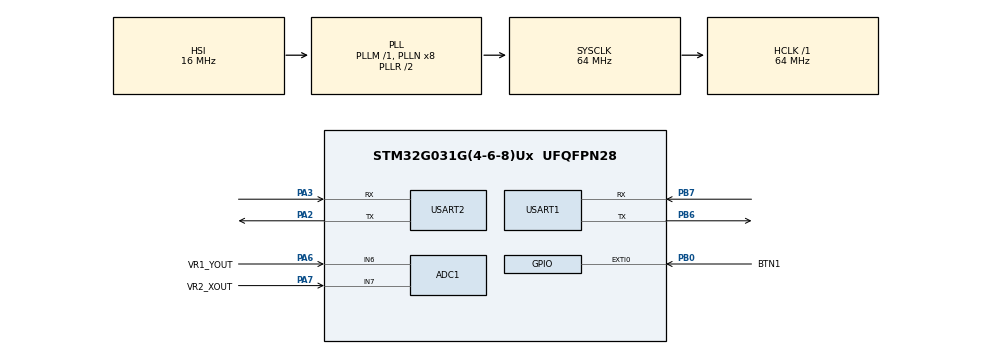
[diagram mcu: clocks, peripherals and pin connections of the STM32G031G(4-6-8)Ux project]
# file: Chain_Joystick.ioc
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ADC1.ContinuousConvMode=ENABLE
ADC1.DMAContinuousRequests=ENABLE
ADC1.NbrOfConversion=1
ADC1.NbrOfConversionFlag=0
ADC1.OversamplingMode=ENABLE
ADC1.Ratio=ADC_OVERSAMPLING_RATIO_256
ADC1.RightBitShift=ADC_RIGHTBITSHIFT_4
ADC1.SamplingTimeCommon1=ADC_SAMPLETIME_160CYCLES_5
ADC1.ScanConvMode=ADC_SCAN_SEQ_FIXED_BACKWARD
ADC1.SelectedChannel=ADC_CHANNEL_6|ADC_CHANNEL_7
ADC1.Sequencer=NOT_FULLY_CONFIGURABLE
ADC1.master=1
Dma.ADC1.4.Direction=DMA_PERIPH_TO_MEMORY
Dma.ADC1.4.EventEnable=DISABLE
Dma.ADC1.4.Instance=DMA1_Channel5
Dma.ADC1.4.MemDataAlignment=DMA_MDATAALIGN_WORD
Dma.ADC1.4.MemInc=DMA_MINC_ENABLE
Dma.ADC1.4.Mode=DMA_CIRCULAR
Dma.ADC1.4.PeriphDataAlignment=DMA_PDATAALIGN_WORD
Dma.ADC1.4.PeriphInc=DMA_PINC_DISABLE
Dma.ADC1.4.Polarity=HAL_DMAMUX_REQ_GEN_RISING
Dma.ADC1.4.Priority=DMA_PRIORITY_MEDIUM
Dma.ADC1.4.RequestNumber=1
Dma.ADC1.4.SignalID=NONE
Dma.ADC1.4.SyncEnable=DISABLE
Dma.ADC1.4.SyncPolarity=HAL_DMAMUX_SYNC_NO_EVENT
Dma.ADC1.4.SyncRequestNumber=1
Dma.ADC1.4.SyncSignalID=NONE
Dma.Request0=USART1_RX
Dma.Request1=USART1_TX
Dma.Request2=USART2_RX
Dma.Request3=USART2_TX
Dma.Request4=ADC1
Dma.USART1_RX.0.Direction=DMA_PERIPH_TO_MEMORY
Dma.USART1_RX.0.EventEnable=DISABLE
Dma.USART1_RX.0.Instance=DMA1_Channel1
Dma.USART1_RX.0.MemDataAlignment=DMA_MDATAALIGN_BYTE
Dma.USART1_RX.0.MemInc=DMA_MINC_ENABLE
Dma.USART1_RX.0.Mode=DMA_NORMAL
Dma.USART1_RX.0.PeriphDataAlignment=DMA_PDATAALIGN_BYTE
Dma.USART1_RX.0.PeriphInc=DMA_PINC_DISABLE
Dma.USART1_RX.0.Polarity=HAL_DMAMUX_REQ_GEN_RISING
Dma.USART1_RX.0.Priority=DMA_PRIORITY_LOW
Dma.USART1_RX.0.RequestNumber=1
Dma.USART1_RX.0.SignalID=NONE
Dma.USART1_RX.0.SyncEnable=DISABLE
Dma.USART1_RX.0.SyncPolarity=HAL_DMAMUX_SYNC_NO_EVENT
Dma.USART1_RX.0.SyncRequestNumber=1
Dma.USART1_RX.0.SyncSignalID=NONE
Dma.USART1_TX.1.Direction=DMA_MEMORY_TO_PERIPH
Dma.USART1_TX.1.EventEnable=DISABLE
Dma.USART1_TX.1.Instance=DMA1_Channel2
Dma.USART1_TX.1.MemDataAlignment=DMA_MDATAALIGN_BYTE
Dma.USART1_TX.1.MemInc=DMA_MINC_ENABLE
Dma.USART1_TX.1.Mode=DMA_NORMAL
Dma.USART1_TX.1.PeriphDataAlignment=DMA_PDATAALIGN_BYTE
Dma.USART1_TX.1.PeriphInc=DMA_PINC_DISABLE
Dma.USART1_TX.1.Polarity=HAL_DMAMUX_REQ_GEN_RISING
Dma.USART1_TX.1.Priority=DMA_PRIORITY_LOW
Dma.USART1_TX.1.RequestNumber=1
Dma.USART1_TX.1.SignalID=NONE
Dma.USART1_TX.1.SyncEnable=DISABLE
Dma.USART1_TX.1.SyncPolarity=HAL_DMAMUX_SYNC_NO_EVENT
Dma.USART1_TX.1.SyncRequestNumber=1
Dma.USART1_TX.1.SyncSignalID=NONE
Dma.USART2_RX.2.Direction=DMA_PERIPH_TO_MEMORY
Dma.USART2_RX.2.EventEnable=DISABLE
Dma.USART2_RX.2.Instance=DMA1_Channel3
Dma.USART2_RX.2.MemDataAlignment=DMA_MDATAALIGN_BYTE
Dma.USART2_RX.2.MemInc=DMA_MINC_ENABLE
Dma.USART2_RX.2.Mode=DMA_NORMAL
Dma.USART2_RX.2.PeriphDataAlignment=DMA_PDATAALIGN_BYTE
Dma.USART2_RX.2.PeriphInc=DMA_PINC_DISABLE
Dma.USART2_RX.2.Polarity=HAL_DMAMUX_REQ_GEN_RISING
Dma.USART2_RX.2.Priority=DMA_PRIORITY_LOW
Dma.USART2_RX.2.RequestNumber=1
Dma.USART2_RX.2.SignalID=NONE
Dma.USART2_RX.2.SyncEnable=DISABLE
Dma.USART2_RX.2.SyncPolarity=HAL_DMAMUX_SYNC_NO_EVENT
Dma.USART2_RX.2.SyncRequestNumber=1
Dma.USART2_RX.2.SyncSignalID=NONE
Dma.USART2_TX.3.Direction=DMA_MEMORY_TO_PERIPH
Dma.USART2_TX.3.EventEnable=DISABLE
Dma.USART2_TX.3.Instance=DMA1_Channel4
Dma.USART2_TX.3.MemDataAlignment=DMA_MDATAALIGN_BYTE
Dma.USART2_TX.3.MemInc=DMA_MINC_ENABLE
Dma.USART2_TX.3.Mode=DMA_NORMAL
Dma.USART2_TX.3.PeriphDataAlignment=DMA_PDATAALIGN_BYTE
Dma.USART2_TX.3.PeriphInc=DMA_PINC_DISABLE
Dma.USART2_TX.3.Polarity=HAL_DMAMUX_REQ_GEN_RISING
Dma.USART2_TX.3.Priority=DMA_PRIORITY_LOW
Dma.USART2_TX.3.RequestNumber=1
Dma.USART2_TX.3.SignalID=NONE
Dma.USART2_TX.3.SyncEnable=DISABLE
Dma.USART2_TX.3.SyncPolarity=HAL_DMAMUX_SYNC_NO_EVENT
Dma.USART2_TX.3.SyncRequestNumber=1
Dma.USART2_TX.3.SyncSignalID=NONE
IWDG.Prescaler=IWDG_PRESCALER_16
Mcu.Family=STM32G0
Mcu.Name=STM32G031G(4-6-8)Ux
Mcu.Package=UFQFPN28
NVIC.DMA1_Ch4_5_DMAMUX1_OVR_IRQn=true\:1\:0\:true\:false\:true\:false\:true\:true
NVIC.DMA1_Channel1_IRQn=true\:1\:0\:true\:false\:true\:false\:true\:true
NVIC.DMA1_Channel2_3_IRQn=true\:1\:0\:true\:false\:true\:false\:true\:true
NVIC.EXTI0_1_IRQn=true\:1\:0\:true\:false\:true\:true\:true\:true
NVIC.FLASH_IRQn=true\:1\:0\:true\:false\:true\:true\:true\:true
NVIC.TIM14_IRQn=true\:1\:0\:true\:false\:true\:true\:true\:true
NVIC.TIM16_IRQn=true\:1\:0\:true\:false\:true\:true\:true\:true
NVIC.TIM17_IRQn=true\:1\:0\:true\:false\:true\:true\:true\:true
NVIC.USART1_IRQn=true\:0\:0\:false\:false\:true\:false\:true\:true
NVIC.USART2_IRQn=true\:0\:0\:false\:false\:true\:false\:true\:true
PA2.GPIO_PuPd=GPIO_PULLUP
PA2.GPIO_Speed=GPIO_SPEED_FREQ_HIGH
PA2.Mode=Asynchronous
PA2.PinState=GPIO_PIN_RESET
PA2.Signal=USART2_TX
PA3.GPIO_PuPd=GPIO_PULLUP
PA3.GPIO_Speed=GPIO_SPEED_FREQ_HIGH
PA3.Mode=Asynchronous
PA3.PinState=GPIO_PIN_RESET
PA3.Signal=USART2_RX
PA6.GPIO_Label=VR1_YOUT
PA6.Mode=IN6
PA6.Signal=ADC1_IN6
PA7.GPIO_Label=VR2_XOUT
PA7.Mode=IN7
PA7.Signal=ADC1_IN7
PB0.GPIO_Label=BTN1
PB0.GPIO_ModeDefaultEXTI=GPIO_MODE_IT_FALLING
PB0.GPIO_PuPd=GPIO_PULLUP
PB0.Signal=GPXTI0
PB6.GPIO_PuPd=GPIO_PULLUP
PB6.GPIO_Speed=GPIO_SPEED_FREQ_HIGH
PB6.Mode=Asynchronous
PB6.Signal=USART1_TX
PB7.GPIO_PuPd=GPIO_PULLUP
PB7.GPIO_Speed=GPIO_SPEED_FREQ_HIGH
PB7.Mode=Asynchronous
PB7.Signal=USART1_RX
ProjectManager.HeapSize=0x200
ProjectManager.StackSize=0x400
ProjectManager.TargetToolchain=STM32CubeIDE
RCC.ADCFreq_Value=64000000
RCC.AHBFreq_Value=64000000
RCC.CortexFreq_Value=64000000
RCC.EXTERNAL_CLOCK_VALUE=12288000
RCC.HCLKFreq_Value=64000000
RCC.HSE_VALUE=8000000
RCC.HSI_VALUE=16000000
RCC.LSE_VALUE=32768
RCC.PLLQ=RCC_PLLQ_DIV4
RCC.SYSCLKFreq_VALUE=64000000
RCC.SYSCLKSource=RCC_SYSCLKSOURCE_PLLCLK
RCC.VCOOutputFreq_Value=128000000
TIM14.AutoReloadPreload=TIM_AUTORELOAD_PRELOAD_ENABLE
TIM14.Period=1699
TIM14.Prescaler=6399
TIM16.Period=29999
TIM16.Prescaler=6399
TIM17.Period=9999
TIM17.Prescaler=6399
USART1.VirtualMode-Asynchronous=VM_ASYNC
USART2.VirtualMode-Asynchronous=VM_ASYNC
VP_IWDG_VS_IWDG.Mode=IWDG_Activate
VP_TIM14_VS_ClockSourceINT.Mode=Enable_Timer
VP_TIM16_VS_ClockSourceINT.Mode=Enable_Timer
VP_TIM17_VS_ClockSourceINT.Mode=Enable_Timer
board=custom

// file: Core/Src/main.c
/* USER CODE BEGIN Header */
/**
 ******************************************************************************
 * @file           : main.c
 * @brief          : Main program body
 ******************************************************************************
 * @attention
 *
 * Copyright (c) 2024 STMicroelectronics.
 * All rights reserved.
 *
 * This software is licensed under terms that can be found in the LICENSE file
 * in the root directory of this software component.
 * If no LICENSE file comes with this software, it is provided AS-IS.
 *
 ******************************************************************************
 */
/* USER CODE END Header */
#include "main.h"
#include "adc.h"
#include "dma.h"
#include "iwdg.h"
#include "tim.h"
#include "usart.h"
#include "gpio.h"

/* USER CODE BEGIN Includes */
#include "base_function.h"
#include "RGB.h"
#include "myflash.h"
#include "joystick_function.h"
/* USER CODE END Includes */

/* USER CODE BEGIN PV */
// DMA receive buffers
__IO uint8_t g_uart_in_rx_buf[UART_BUFFER_SIZE][BUFFER_SIZE * 2];  // uart_in receive buffer for DMA
__IO uint8_t g_uart_out_rx_buf[UART_BUFFER_SIZE][BUFFER_SIZE * 2]; // uart_out receive buffer for DMA

// Transmission status for UART
__IO uint8_t g_uart_in_rx_index = 0;  // Index for UART input (receiving) buffer position
__IO uint8_t g_uart_out_rx_index = 0; // Index for UART output (receiving) buffer position

// Transmission complete flags for UART
__IO uint8_t g_uart_in_transmit_complete = 1;  // Flag indicating if uart_in transmission is complete (1: complete)
__IO uint8_t g_uart_out_transmit_complete = 1; // Flag indicating if uart_out transmission is complete (1: complete)

// Command buffer and related variables
__IO uint8_t g_cmd_buf[BUFFER_SIZE] = {0}; // Command buffer initialized to zero
__IO uint8_t g_cmd_size = 0;               // Size of the command currently in the buffer
__IO uint8_t g_cmd_status =
    CMD_SPACE_IDLE_STATUS; // Status of the command processing

// Device status variables
__IO uint8_t g_tail_status =
    CHAIN_TAIL_DEVICE; // Status of the tail device in the chain
__IO uint8_t g_heart_beat_record =
    0;                                              // Heartbeat record for monitoring device status
__IO uint8_t g_bootloader_version = 0;              // Version of the bootloader
__IO uint8_t g_firmware_version = SOFTWARE_VERSION; // Version of the firmware

// Device type information
__IO uint16_t g_device_type = (uint8_t)((PRODUCT_TYPE_HIGH << 8) |
                                        PRODUCT_TYPE_LOW); // Combined product type from high and low bytes
__IO uint8_t g_light = 0;                                  // Light status or value

__IO static uint16_t s_adc_map_range_df_value[8] =
    MAP_RANGE_DEFAULT; // Default values for ADC mapping range

extern __IO uint16_t g_flash_data[12]; // Data read from Flash memory
extern __IO uint16_t
    g_adc_map_range_value[8]; // Current ADC mapping range values
extern adc_cal_t
    g_adc_cal_value; // Structure for storing ADC calibration values

__IO uint8_t g_key_flag = 0;
/* USER CODE END PV */

void SystemClock_Config(void);

/* USER CODE BEGIN 0 */
/**
 * @brief Set the Interrupt Vector Table for the application in SRAM.
 * @param None
 * @retval None
 */
void iap_set(void)
{
  uint8_t i; // Loop index
  uint32_t *pVecTab =
      (uint32_t *)(0x20000000); // Pointer to the vector table in SRAM

  // Copy the interrupt vector table from the application address to SRAM
  for (i = 0; i < 48; i++)
  {
    // Copy each vector entry to the SRAM vector table
    *(pVecTab++) = *(__IO uint32_t *)(APPLICATION_ADDRESS + (i << 2));
  }

  // Enable the SYSCFG peripheral clock
  __HAL_RCC_SYSCFG_CLK_ENABLE();

  // Remap the memory to use SRAM for the vector table
  __HAL_SYSCFG_REMAPMEMORY_SRAM();
}

/**
 * @brief Initialize the chain device settings.
 * @param None
 * @retval None
 */
void chain_init(void)
{
  // Get the version of the bootloader
  g_bootloader_version = get_bootloader_version();

  // Read data from Flash memory
  read_flash_data();

  // Set RGB light based on the current setting
  g_light = (get_rgb_light() == 0xFF) ? RGB_LIGHT_BASE : get_rgb_light();
  set_rgb_light(g_light); // Set the RGB light to the determined value
  // Check if any value in the last 4 Flash data is valid
  uint8_t valid_data_found = 0;
  for (uint8_t i = 0; i < 4; i++)
  {
    if (g_flash_data[i + 4] != 0xFFFF)
    {
      valid_data_found = 1; // Valid data found
      break;
    }
  }

  // If valid data exists, update mapping range and ADC calibration
  if (valid_data_found)
  {
    get_map_range(g_adc_map_range_value, sizeof(g_adc_map_range_value));
  }
  else
  {
    // If all values are 0xFFFF, use default ADC mapping range values
    memcpy(g_adc_map_range_value, s_adc_map_range_df_value,
           sizeof(g_adc_map_range_value));
    set_map_range(g_adc_map_range_value, sizeof(g_adc_map_range_value));
  }
  // Update ADC calibration values regardless of the valid data state
  update_adc_cal_value();
}
/* USER CODE END 0 */

int main(void)
{

  /* USER CODE BEGIN 1 */
  iap_set();
  chain_init();
  /* USER CODE END 1 */

  /* MCU Configuration--------------------------------------------------------*/

  /* Reset of all peripherals, Initializes the Flash interface and the Systick. */
  HAL_Init();

  /* Configure the system clock */
  SystemClock_Config();

  /* Initialize all configured peripherals */
  MX_GPIO_Init();
  MX_DMA_Init();
  MX_USART1_UART_Init();
  MX_USART2_UART_Init();
  MX_IWDG_Init();
  MX_TIM14_Init();
  MX_TIM16_Init();
  MX_ADC1_Init();
  MX_TIM17_Init();
  /* USER CODE BEGIN 2 */
  //	rgb_init();
  rgb_init();
  joystick_init();
  HAL_Delay(1);
  LL_TIM_ClearFlag_UPDATE(TIM14); // Clear update TIM14
  LL_TIM_EnableIT_UPDATE(TIM14);  // ENABLE TIM14
  LL_TIM_EnableCounter(TIM14);    // ENABLE TIM14
  HAL_Delay(1);
  LL_TIM_ClearFlag_UPDATE(TIM17); // Clear update TIM17
  LL_TIM_EnableIT_UPDATE(TIM17);  // ENABLE TIM17
  LL_TIM_EnableCounter(TIM17);    // ENABLE TIM17
  HAL_Delay(1);
  LL_TIM_ClearFlag_UPDATE(TIM16); // Clear update TIM16
  LL_TIM_EnableIT_UPDATE(TIM16);  // ENABLE TIM16
  LL_TIM_EnableCounter(TIM16);    // ENABLE TIM16
  HAL_Delay(1);

  /* USER CODE END 2 */

  /* Infinite loop */
  /* USER CODE BEGIN WHILE */
  while (1)
  {
    if (g_cmd_status == CMD_SPACE_BUSY_STATUS)
    {
      switch (g_cmd_buf[0])
      {
      case CHAIN_JOYSTICK_GET_16ADC:
        chain_joystick_get_16adc();
        break;
      case CHAIN_JOYSTICK_GET_8ADC:
        chain_joystick_get_8adc();
        break;
      case CHAIN_JOYSTICK_GET_ADC_XY_MAPPED_RANGE:
        chain_joystick_get_adc_xy_mapped_range();
        break;
      case CHAIN_JOYSTICK_SET_ADC_XY_MAPPED_RANGE:
        chain_joystick_set_adc_xy_mapped_range((uint8_t *)(g_cmd_buf + 1),
                                               (g_cmd_size - 1));
        break;
      case CHAIN_JOYSTICK_GET_ADC_XY_MAPPED_INT16_VALUE:
        chain_joystick_get_adc_xy_mapped_int16_value();
        break;
      case CHAIN_JOYSTICK_GET_ADC_XY_MAPPED_INT8_VALUE:
        chain_joystick_get_adc_xy_mapped_int8_value();
        break;
      case CHAIN_SET_RGB_VALUE:
        chain_set_rgb_value((uint8_t *)(g_cmd_buf + 1), (g_cmd_size - 1));
        break;
      case CHAIN_GET_RGB_VALUE:
        chain_get_rgb_value();
        break;
      case CHAIN_SET_RGB_LIGHT:
        chain_set_light_value(g_cmd_buf[1]);
        break;
      case CHAIN_GET_RGB_LIGHT:
        chain_get_light_value();
        break;
      case CHAIN_GET_BOOTLOADER_VERSION:
        chain_get_bootloader_version_handle();
        break;
      case CHAIN_GET_VERSION_DEVICE:
        chain_get_firmware_version_handle();
        break;
      case CHAIN_GET_DEVICE_TYPE:
        chain_get_device_type_handle();
        break;
      case CHAIN_IAP_UPDATE:
        chain_iap_update_handle(g_cmd_buf[1]);
        break;
      default:
        break;
      }
      g_cmd_status = CMD_SPACE_IDLE_STATUS;
    }
    /* USER CODE END WHILE */

    /* USER CODE BEGIN 3 */
    if(g_key_flag && g_uart_in_transmit_complete){
    	chain_joystick_button_press();
        g_key_flag = 0;
    }
    LL_IWDG_ReloadCounter(IWDG);
  }
  /* USER CODE END 3 */
}

void SystemClock_Config(void)
{
  RCC_OscInitTypeDef RCC_OscInitStruct = {0};
  RCC_ClkInitTypeDef RCC_ClkInitStruct = {0};

  /** Configure the main internal regulator output voltage
   */
  HAL_PWREx_ControlVoltageScaling(PWR_REGULATOR_VOLTAGE_SCALE1);

  /** Initializes the RCC Oscillators according to the specified parameters
   * in the RCC_OscInitTypeDef structure.
   */
  RCC_OscInitStruct.OscillatorType = RCC_OSCILLATORTYPE_HSI | RCC_OSCILLATORTYPE_LSI;
  RCC_OscInitStruct.HSIState = RCC_HSI_ON;
  RCC_OscInitStruct.HSIDiv = RCC_HSI_DIV1;
  RCC_OscInitStruct.HSICalibrationValue = RCC_HSICALIBRATION_DEFAULT;
  RCC_OscInitStruct.LSIState = RCC_LSI_ON;
  RCC_OscInitStruct.PLL.PLLState = RCC_PLL_ON;
  RCC_OscInitStruct.PLL.PLLSource = RCC_PLLSOURCE_HSI;
  RCC_OscInitStruct.PLL.PLLM = RCC_PLLM_DIV1;
  RCC_OscInitStruct.PLL.PLLN = 8;
  RCC_OscInitStruct.PLL.PLLP = RCC_PLLP_DIV2;
  RCC_OscInitStruct.PLL.PLLQ = RCC_PLLQ_DIV4;
  RCC_OscInitStruct.PLL.PLLR = RCC_PLLR_DIV2;
  if (HAL_RCC_OscConfig(&RCC_OscInitStruct) != HAL_OK)
  {
    Error_Handler();
  }

  /** Initializes the CPU, AHB and APB buses clocks
   */
  RCC_ClkInitStruct.ClockType = RCC_CLOCKTYPE_HCLK | RCC_CLOCKTYPE_SYSCLK | RCC_CLOCKTYPE_PCLK1;
  RCC_ClkInitStruct.SYSCLKSource = RCC_SYSCLKSOURCE_PLLCLK;
  RCC_ClkInitStruct.AHBCLKDivider = RCC_SYSCLK_DIV1;
  RCC_ClkInitStruct.APB1CLKDivider = RCC_HCLK_DIV1;

  if (HAL_RCC_ClockConfig(&RCC_ClkInitStruct, FLASH_LATENCY_2) != HAL_OK)
  {
    Error_Handler();
  }
}

void Error_Handler(void)
{
  __disable_irq();
  while (1)
  {
  }
}

#ifdef USE_FULL_ASSERT
/**
 * @brief  Reports the name of the source file and the source line number
 *         where the assert_param error has occurred.
 * @param  file: pointer to the source file name
 * @param  line: assert_param error line source number
 * @retval None
 */
void assert_failed(uint8_t *file, uint32_t line)
{
  /* USER CODE BEGIN 6 */
  /* User can add his own implementation to report the file name and line
     number,
     ex: printf("Wrong parameters value: file %s on line %d\r\n", file, line) */
  /* USER CODE END 6 */
}
#endif /* USE_FULL_ASSERT */
